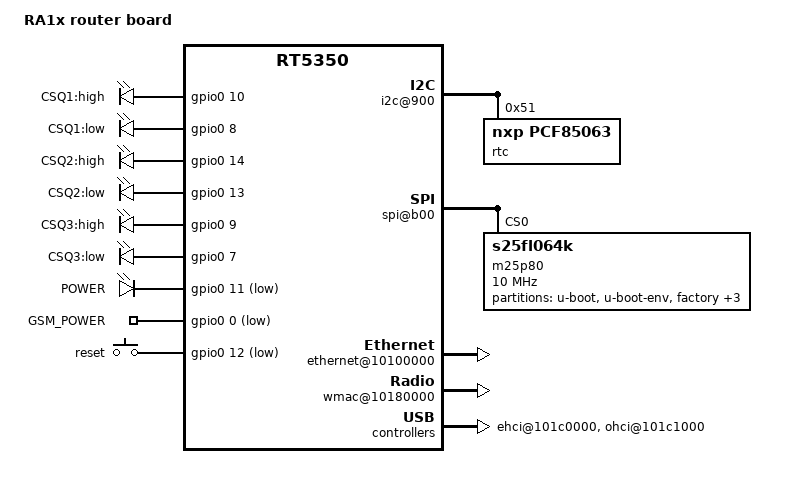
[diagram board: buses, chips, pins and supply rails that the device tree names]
/dts-v1/;

/include/ "rt5350.dtsi"

/ {
	compatible = "R1", "ralink,rt5350-soc";
	model = "RA1x router board";

	chosen {
		bootargs = "console=ttyS0,57600";
	};

	palmbus@10000000 {
		gpio0: gpio@600 {
			status = "okay";
		};
		
		i2c@900 {
		    status = "okay";
			rtc@51 {
				compatible = "nxp,pcf85063";
				reg = <0x51>;
			};
		};
		
		spi@b00 {
			status = "okay";
			m25p80@0 {
				#address-cells = <1>;
				#size-cells = <1>;
				compatible = "s25fl064k";
				reg = <0>;
				linux,modalias = "s25fl064k";
				spi-max-frequency = <10000000>;
				partition@0 {
				    label = "u-boot";
				    reg = <0x0 0x30000>;
				};
				partition@30000 {
				    label = "u-boot-env";
				    reg = <0x30000 0x10000>;
				};

				factory: partition@40000 {
				    label = "factory";
				    reg = <0x40000 0x10000>;
				};
				partition@50000 {
				    label = "kernel";
				    reg = <0x50000 0x100000>;
				};
    			partition@150000 {
				    label = "rootfs";
				    reg = <0x150000 0x400000>;
				};
				partition@4d0000 {
				    label = "rootfs_data";
				    reg = <0x5d0000 0x230000>;
				};
			};
		};
	};

	pinctrl {
		state_default: pinctrl0 {
			gpio {
				ralink,group = "jtag", "uartf";
				ralink,function = "gpio";
			};
		};
	};

	ethernet@10100000 {
		status = "okay";
		mtd-mac-address = <&factory 0x28>;
	};

	esw@10110000 {
		status = "okay";
		ralink,portmap = <0x3f>;
        ralink,led_polarity = <31>;
	};

	wmac@10180000 {
		status = "okay";
		ralink,mtd-eeprom = <&factory 0>;
	};

	ehci@101c0000 {
		status = "okay";
	};

	ohci@101c1000 {
		status = "okay";
	};

	gpio-leds {
		compatible = "gpio-leds";
		csq1high {
			label = "CSQ1:high";
			gpios = <&gpio0 10  0>;
		};
		csq1low {
			label = "CSQ1:low";
			gpios = <&gpio0 8   0 >;
    		};
    		csq2high { 
			label = "CSQ2:high";
			gpios = <&gpio0 14  0>;
    		};
    		csq2low { 
			label = "CSQ2:low";
			gpios = <&gpio0 13  0>;
    		};
    		csq3high { 
			label = "CSQ3:high";
			gpios = <&gpio0 9  0>;
    		};
    		csq3low { 
			label = "CSQ3:low";
			gpios = <&gpio0 7  0>;
    		};

    		power {
				label = "POWER";
				gpios = <&gpio0 11 1>;
				default-state = "on";
		};
	};
	gpio {
		compatible = "gpio-export";
		GSM_POWER {
		    gpios = <&gpio0 0 1>;
		    gpio-export,name  = "GSM_POWER";
		    gpio-export,direction_may_change;
		    gpio-export,output = <0>;
		    
		};
		
	};
	gpio-keys-polled {
		compatible = "gpio-keys-polled";
		#address-cells = <1>;
		#size-cells = <0>;
		poll-interval = <100>;
		reset {
			label = "reset";
			gpios = <&gpio0 12 1>;
			linux,code = <0x198>;
		};
	};
};
